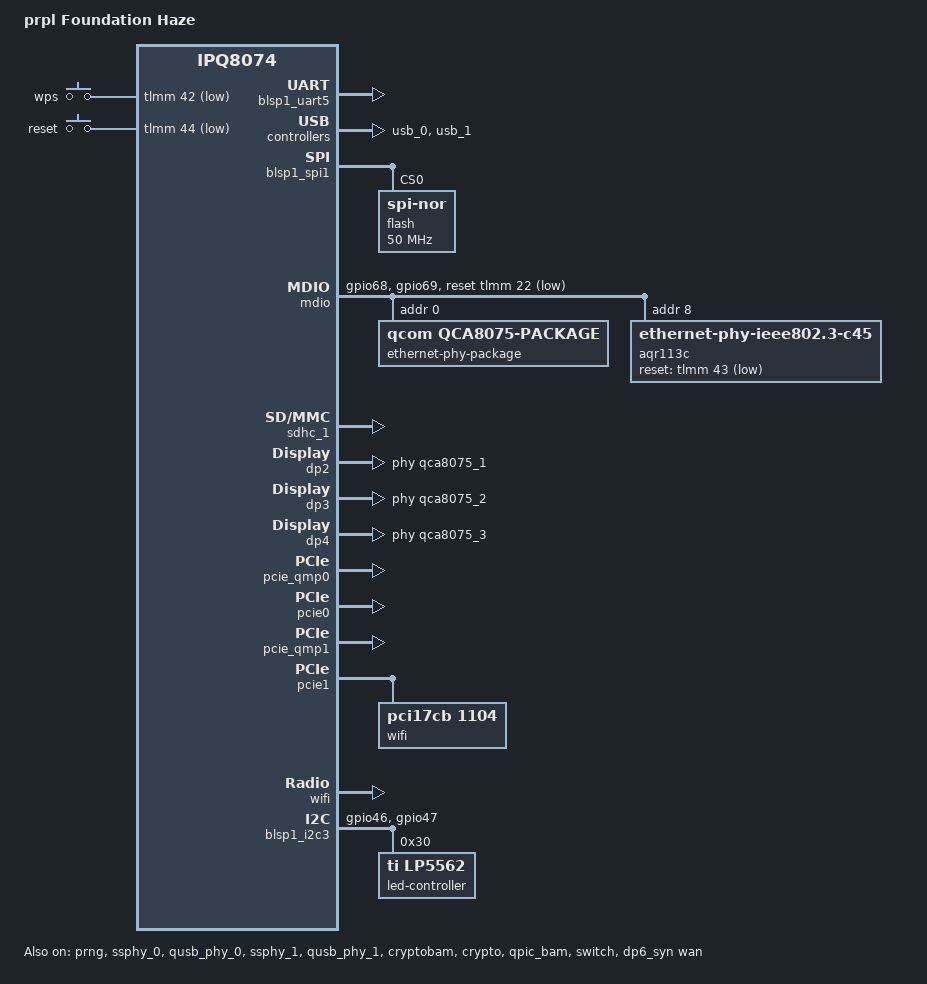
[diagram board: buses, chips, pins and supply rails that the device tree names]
// SPDX-License-Identifier: GPL-2.0-or-later OR MIT

/dts-v1/;

#include "ipq8074.dtsi"
#include "ipq8074-hk-cpu.dtsi"
#include "ipq8074-ess.dtsi"
#include <dt-bindings/gpio/gpio.h>
#include <dt-bindings/input/input.h>
#include <dt-bindings/leds/common.h>

/ {
	model = "prpl Foundation Haze";
	compatible = "prpl,haze", "qcom,ipq8074";

	aliases {
		serial0 = &blsp1_uart5;
		/* Aliases are required by U-Boot to patch MAC addresses */
		ethernet0 = &dp6_syn;
		ethernet1 = &dp4;
		ethernet2 = &dp3;
		ethernet3 = &dp2;
		label-mac-device = &dp6_syn;
		led-boot = &led_system_blue;
		led-failsafe = &led_system_red;
		led-running = &led_system_green;
		led-upgrade = &led_system_blue;
	};

	chosen {
		stdout-path = "serial0:115200n8";
	};

	keys {
		compatible = "gpio-keys";
		pinctrl-0 = <&button_pins>;
		pinctrl-names = "default";

		wps-button {
			label = "wps";
			gpios = <&tlmm 42 GPIO_ACTIVE_LOW>;
			linux,code = <KEY_WPS_BUTTON>;
		};

		reset-button {
			label = "reset";
			gpios = <&tlmm 44 GPIO_ACTIVE_LOW>;
			linux,code = <KEY_RESTART>;
		};
	};
};

&tlmm {
	mdio_pins: mdio-state {
		mdc-pins {
			pins = "gpio68";
			function = "mdc";
			drive-strength = <8>;
			bias-pull-up;
		};

		mdio-pins {
			pins = "gpio69";
			function = "mdio";
			drive-strength = <8>;
			bias-pull-up;
		};
	};

	button_pins: button-state {
		wps-pins {
			pins = "gpio42";
			function = "gpio";
			drive-strength = <8>;
			bias-pull-up;
		};

		rst-pins {
			pins = "gpio44";
			function = "gpio";
			drive-strength = <8>;
			bias-pull-up;
		};
	};

	i2c_3_pins: i2c-3-state {
		pins = "gpio46", "gpio47";
		function = "blsp2_i2c";
		drive-strength = <8>;
		bias-disable;
	};
};

&blsp1_uart5 {
	status = "okay";
};

&prng {
	status = "okay";
};

&ssphy_0 {
	status = "okay";
};

&qusb_phy_0 {
	status = "okay";
};

&ssphy_1 {
	status = "okay";
};

&qusb_phy_1 {
	status = "okay";
};

&usb_0 {
	status = "okay";
};

&usb_1 {
	status = "okay";
};

&cryptobam {
	status = "okay";
};

&crypto {
	status = "okay";
};

&qpic_bam {
	status = "okay";
};

&blsp1_spi1 { /* BLSP1 QUP1 */
	pinctrl-0 = <&spi_0_pins>;
	pinctrl-names = "default";
	cs-gpios = <0>;
	status = "okay";

	flash@0 {
		#address-cells = <1>;
		#size-cells = <1>;
		reg = <0>;
		compatible = "jedec,spi-nor";
		spi-max-frequency = <50000000>;

		partitions {
			compatible = "qcom,smem-part";
		};
	};
};

&mdio {
	status = "okay";

	pinctrl-0 = <&mdio_pins>;
	pinctrl-names = "default";
	reset-gpios = <&tlmm 22 GPIO_ACTIVE_LOW>;

	ethernet-phy-package@0 {
		#address-cells = <1>;
		#size-cells = <0>;
		compatible = "qcom,qca8075-package";
		reg = <0>;

		qca8075_0: ethernet-phy@0 {
			compatible = "ethernet-phy-ieee802.3-c22";
			reg = <0>;
		};

		qca8075_1: ethernet-phy@1 {
			compatible = "ethernet-phy-ieee802.3-c22";
			reg = <1>;
		};

		qca8075_2: ethernet-phy@2 {
			compatible = "ethernet-phy-ieee802.3-c22";
			reg = <2>;
		};

		qca8075_3: ethernet-phy@3 {
			compatible = "ethernet-phy-ieee802.3-c22";
			reg = <3>;
		};
	};

	aqr113c: ethernet-phy@5 {
		compatible ="ethernet-phy-ieee802.3-c45";
		reg = <8>;
		reset-gpios = <&tlmm 43 GPIO_ACTIVE_LOW>;
	};
};

&sdhc_1 {
	status = "okay";

	vqmmc-supply = <&l11>;
};

&switch {
	status = "okay";

	switch_lan_bmp = <(ESS_PORT1 | ESS_PORT2 | ESS_PORT3 | ESS_PORT4)>; /* lan port bitmap */
	switch_wan_bmp = <ESS_PORT6>; /* wan port bitmap */
	switch_mac_mode = <MAC_MODE_PSGMII>; /* mac mode for uniphy instance0*/
	switch_mac_mode1 = <MAC_MODE_10GBASE_R>; /* mac mode for uniphy instance1*/
	switch_mac_mode2 = <MAC_MODE_USXGMII>; /* mac mode for uniphy instance2*/

	qcom,port_phyinfo {
		port@1 {
			port_id = <1>;
			phy_address = <0>;
		};
		port@2 {
			port_id = <2>;
			phy_address = <1>;
		};
		port@3 {
			port_id = <3>;
			phy_address = <2>;
		};
		port@4 {
			port_id = <4>;
			phy_address = <3>;
		};
		port@6 {
			port_id = <6>;
			phy_address = <8>;
			compatible = "ethernet-phy-ieee802.3-c45";
			ethernet-phy-ieee802.3-c45;
		};
	};
};

&edma {
	status = "okay";
};

/* Dummy LAN port */
&dp1 {
	status = "disabled";
	phy-handle = <&qca8075_0>;
	label = "lan4";
};

&dp2 {
	status = "okay";
	phy-handle = <&qca8075_1>;
	label = "lan3";
};

&dp3 {
	status = "okay";
	phy-handle = <&qca8075_2>;
	label = "lan2";
};

&dp4 {
	status = "okay";
	phy-handle = <&qca8075_3>;
	label = "lan1";
};

&dp6_syn {
	status = "okay";
	qcom,mactype = <1>;
	phy-mode = "usxgmii";
	phy-handle = <&aqr113c>;
	label = "wan";
};

&pcie_qmp0 {
	status = "okay";
};

&pcie0 {
	status = "okay";

	perst-gpio = <&tlmm 58 GPIO_ACTIVE_LOW>;

	bridge@0,0 {
		reg = <0x00020000 0 0 0 0>;
		#address-cells = <3>;
		#size-cells = <2>;
		ranges;
	};
};

&pcie_qmp1 {
	status = "okay";
};

&pcie1 {
	status = "okay";

	perst-gpio = <&tlmm 61 GPIO_ACTIVE_LOW>;

	bridge@1,0 {
		reg = <0x00010000 0 0 0 0>;
		#address-cells = <3>;
		#size-cells = <2>;
		ranges;

		wifi@1,0 {
			status = "okay";

			/* ath11k has no DT compatible for PCI cards */
			compatible = "pci17cb,1104";
			reg = <0x00010000 0 0 0 0>;

			qcom,ath11k-calibration-variant = "prpl-Haze";
		};
	};
};

&wifi {
	status = "okay";

	qcom,ath11k-calibration-variant = "prpl-Haze";
};

&blsp1_i2c3{
	pinctrl-0 = <&i2c_3_pins>;
	pinctrl-names = "default";
	status = "okay";

	led-controller@30 {
		compatible = "ti,lp5562";
		reg = <0x30>;
		clock-mode = /bits/ 8 <2>;
		#address-cells = <1>;
		#size-cells = <0>;

		led_system_red: chan@0 {
			chan-name = "red";
			led-cur = /bits/ 8 <0x20>;
			max-cur = /bits/ 8 <0x60>;
			color = <LED_COLOR_ID_RED>;
			reg = <0>;
		};

		led_system_green: chan@1 {
			chan-name = "green";
			led-cur = /bits/ 8 <0x20>;
			max-cur = /bits/ 8 <0x60>;
			color = <LED_COLOR_ID_GREEN>;
			reg = <1>;
		};

		led_system_blue: chan@2 {
			chan-name = "blue";
			led-cur = /bits/ 8 <0x20>;
			max-cur = /bits/ 8 <0x60>;
			color = <LED_COLOR_ID_BLUE>;
			reg = <2>;
		};
	};
};
